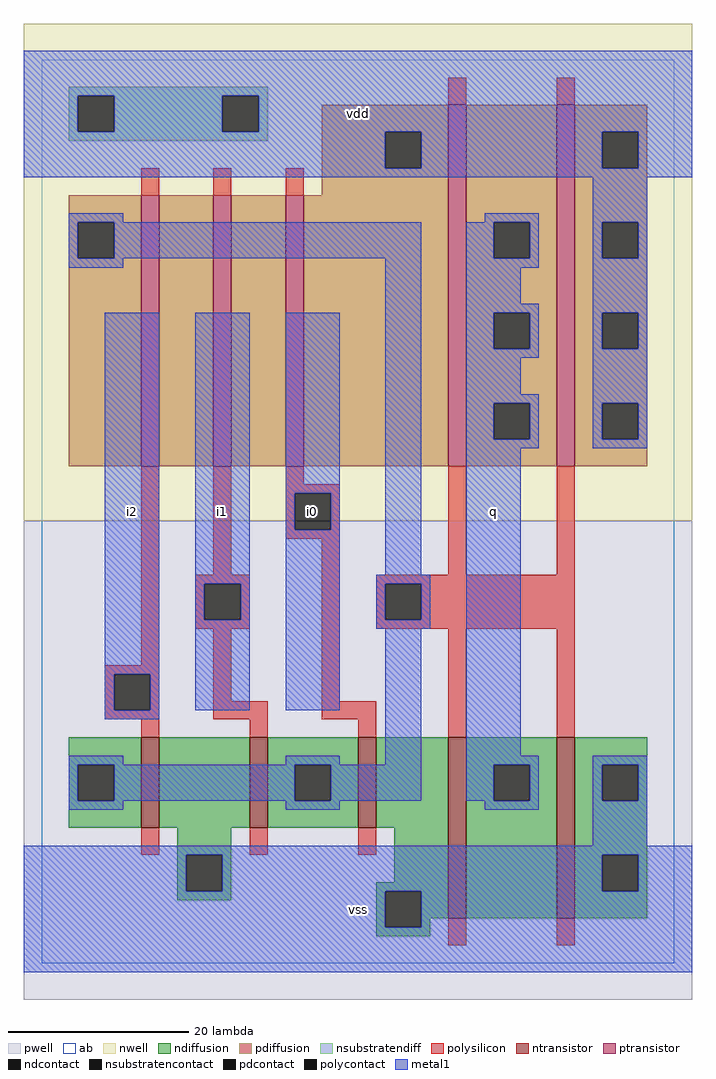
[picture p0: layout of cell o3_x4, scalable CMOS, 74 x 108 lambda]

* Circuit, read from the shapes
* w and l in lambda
.subckt o3_x4 i0 i1 i2 q vdd vss
M1 vss i2 n1 VSUBS nfet w=10 l=2
M2 n1 i1 vss VSUBS nfet w=10 l=2
M3 vss i0 n1 VSUBS nfet w=10 l=2
M4 q n1 vss VSUBS nfet w=20 l=2 m=2
M5 n2 i2 n1 vdd pfet w=30 l=2
M6 n3 i1 n2 vdd pfet w=30 l=2
M7 vdd i0 n3 vdd pfet w=30 l=2
M8 q n1 vdd vdd pfet w=40 l=2 m=2
.ends

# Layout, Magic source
magic
tech scmos
<< ab >>
rect 0 0 70 100
<< pwell >>
rect -2 -4 72 49
<< nwell >>
rect -2 49 72 104
<< polysilicon >>
rect 45 95 47 98
rect 57 95 59 98
rect 11 85 13 88
rect 19 85 21 88
rect 27 85 29 88
rect 11 33 13 55
rect 19 43 21 55
rect 27 53 29 55
rect 27 52 33 53
rect 27 48 28 52
rect 32 48 33 52
rect 27 47 33 48
rect 17 42 23 43
rect 17 38 18 42
rect 22 38 23 42
rect 17 37 23 38
rect 7 32 13 33
rect 7 28 8 32
rect 12 28 13 32
rect 7 27 13 28
rect 19 29 21 37
rect 31 29 33 47
rect 45 43 47 55
rect 57 43 59 55
rect 37 42 59 43
rect 37 38 38 42
rect 42 38 59 42
rect 37 37 59 38
rect 19 27 25 29
rect 31 27 37 29
rect 11 25 13 27
rect 23 25 25 27
rect 35 25 37 27
rect 45 25 47 37
rect 57 25 59 37
rect 11 12 13 15
rect 23 12 25 15
rect 35 12 37 15
rect 45 2 47 5
rect 57 2 59 5
<< ndiffusion >>
rect 3 22 11 25
rect 3 18 4 22
rect 8 18 11 22
rect 3 15 11 18
rect 13 15 23 25
rect 25 22 35 25
rect 25 18 28 22
rect 32 18 35 22
rect 25 15 35 18
rect 37 15 45 25
rect 15 12 21 15
rect 15 8 16 12
rect 20 8 21 12
rect 39 9 45 15
rect 15 7 21 8
rect 37 8 45 9
rect 37 4 38 8
rect 42 5 45 8
rect 47 22 57 25
rect 47 18 50 22
rect 54 18 57 22
rect 47 5 57 18
rect 59 22 67 25
rect 59 18 62 22
rect 66 18 67 22
rect 59 12 67 18
rect 59 8 62 12
rect 66 8 67 12
rect 59 5 67 8
rect 42 4 43 5
rect 37 3 43 4
<< pdiffusion >>
rect 31 92 45 95
rect 31 88 38 92
rect 42 88 45 92
rect 31 85 45 88
rect 3 82 11 85
rect 3 78 4 82
rect 8 78 11 82
rect 3 55 11 78
rect 13 55 19 85
rect 21 55 27 85
rect 29 55 45 85
rect 47 82 57 95
rect 47 78 50 82
rect 54 78 57 82
rect 47 72 57 78
rect 47 68 50 72
rect 54 68 57 72
rect 47 62 57 68
rect 47 58 50 62
rect 54 58 57 62
rect 47 55 57 58
rect 59 92 67 95
rect 59 88 62 92
rect 66 88 67 92
rect 59 82 67 88
rect 59 78 62 82
rect 66 78 67 82
rect 59 72 67 78
rect 59 68 62 72
rect 66 68 67 72
rect 59 62 67 68
rect 59 58 62 62
rect 66 58 67 62
rect 59 55 67 58
<< metal1 >>
rect -2 96 72 101
rect -2 92 4 96
rect 8 92 20 96
rect 24 92 72 96
rect -2 88 38 92
rect 42 88 62 92
rect 66 88 72 92
rect -2 87 72 88
rect 3 82 9 83
rect 49 82 55 83
rect 3 78 4 82
rect 8 78 42 82
rect 3 77 9 78
rect 7 32 13 72
rect 7 28 8 32
rect 12 28 13 32
rect 17 42 23 72
rect 17 38 18 42
rect 22 38 23 42
rect 17 28 23 38
rect 27 52 33 72
rect 27 48 28 52
rect 32 48 33 52
rect 27 28 33 48
rect 38 43 42 78
rect 47 78 50 82
rect 54 78 55 82
rect 47 77 55 78
rect 61 82 67 87
rect 61 78 62 82
rect 66 78 67 82
rect 47 73 53 77
rect 47 72 55 73
rect 47 68 50 72
rect 54 68 55 72
rect 47 67 55 68
rect 61 72 67 78
rect 61 68 62 72
rect 66 68 67 72
rect 47 63 53 67
rect 47 62 55 63
rect 47 58 50 62
rect 54 58 55 62
rect 47 57 55 58
rect 61 62 67 68
rect 61 58 62 62
rect 66 58 67 62
rect 61 57 67 58
rect 37 42 43 43
rect 37 38 38 42
rect 42 38 43 42
rect 37 37 43 38
rect 7 27 13 28
rect 3 22 9 23
rect 27 22 33 23
rect 38 22 42 37
rect 3 18 4 22
rect 8 18 28 22
rect 32 18 42 22
rect 47 23 53 57
rect 47 22 55 23
rect 47 18 50 22
rect 54 18 55 22
rect 3 17 9 18
rect 27 17 33 18
rect 49 17 55 18
rect 61 22 67 23
rect 61 18 62 22
rect 66 18 67 22
rect 61 13 67 18
rect -2 12 72 13
rect -2 8 16 12
rect 20 8 62 12
rect 66 8 72 12
rect -2 4 38 8
rect 42 4 72 8
rect -2 -1 72 4
<< ntransistor >>
rect 11 15 13 25
rect 23 15 25 25
rect 35 15 37 25
rect 45 5 47 25
rect 57 5 59 25
<< ptransistor >>
rect 11 55 13 85
rect 19 55 21 85
rect 27 55 29 85
rect 45 55 47 95
rect 57 55 59 95
<< polycontact >>
rect 28 48 32 52
rect 18 38 22 42
rect 8 28 12 32
rect 38 38 42 42
<< ndcontact >>
rect 4 18 8 22
rect 28 18 32 22
rect 16 8 20 12
rect 38 4 42 8
rect 50 18 54 22
rect 62 18 66 22
rect 62 8 66 12
<< pdcontact >>
rect 38 88 42 92
rect 4 78 8 82
rect 50 78 54 82
rect 50 68 54 72
rect 50 58 54 62
rect 62 88 66 92
rect 62 78 66 82
rect 62 68 66 72
rect 62 58 66 62
<< nsubstratencontact >>
rect 4 92 8 96
rect 20 92 24 96
<< nsubstratendiff >>
rect 3 96 25 97
rect 3 92 4 96
rect 8 92 20 96
rect 24 92 25 96
rect 3 91 25 92
<< labels >>
rlabel metal1 10 50 10 50 6 i2
rlabel metal1 10 50 10 50 6 i2
rlabel polycontact 30 50 30 50 6 i0
rlabel metal1 20 50 20 50 6 i1
rlabel metal1 20 50 20 50 6 i1
rlabel polycontact 30 50 30 50 6 i0
rlabel metal1 35 6 35 6 6 vss
rlabel metal1 35 6 35 6 6 vss
rlabel metal1 50 50 50 50 6 q
rlabel metal1 50 50 50 50 6 q
rlabel metal1 35 94 35 94 6 vdd
rlabel metal1 35 94 35 94 6 vdd
<< end >>
